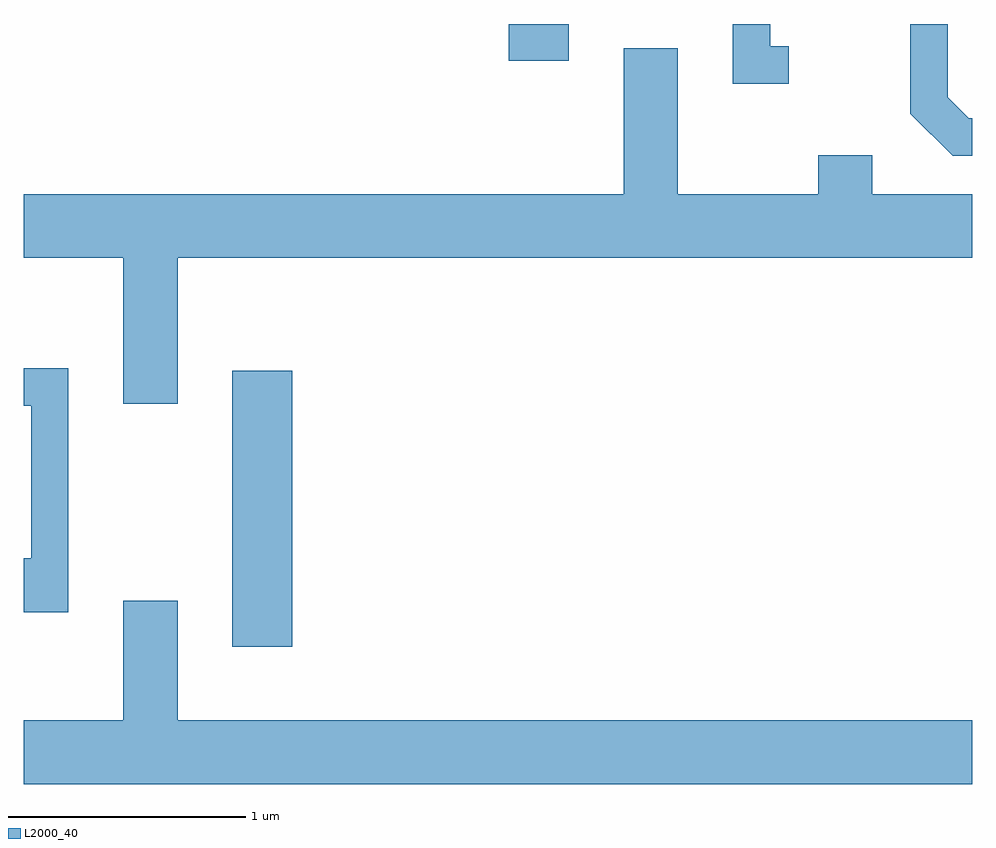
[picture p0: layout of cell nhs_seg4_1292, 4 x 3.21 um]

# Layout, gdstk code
import gdstk
lib = gdstk.Library(unit=1e-6, precision=1e-09)
def R(c, l, rs):  # rectangles x0, y0, x1, y1
    for r in rs: c.add(gdstk.rectangle(r[:2], r[2:], *l))
def P(c, l, *ps):  # polygons
    for p in ps: c.add(gdstk.Polygon(p, *l))
L2000_40 = (2000, 40)

nhs_seg4_1292 = lib.new_cell('nhs_seg4_1292')
R(nhs_seg4_1292, L2000_40, [(224.491,1255.356,224.744,1256.519), (225.656,1257.826,225.909,1257.982)])
P(nhs_seg4_1292, L2000_40, [(226.838,1257.889),(226.759,1257.889),(226.759,1257.982),(226.601,1257.982),(226.601,1257.731),(226.838,1257.731)],
  [(227.611,1257.584),(227.597,1257.584),(227.509,1257.672),(227.509,1257.982),(227.351,1257.982),(227.351,1257.604),(227.529,1257.426),(227.611,1257.426)],
  [(224.259,1256.996),(227.611,1256.996),(227.611,1257.264),(227.189,1257.264),(227.189,1257.429),(226.961,1257.429),(226.961,1257.264),(226.369,1257.264),(226.369,1257.879),(226.141,1257.879),(226.141,1257.264),(223.611,1257.264),(223.611,1256.996),(224.031,1256.996),(224.031,1256.381),(224.259,1256.381)],
  [(223.799,1256.529),(223.611,1256.529),(223.611,1256.371),(223.641,1256.371),(223.641,1255.729),(223.611,1255.729),(223.611,1255.501),(223.799,1255.501)],
  [(227.611,1255.044),(224.259,1255.044),(224.259,1255.549),(224.031,1255.549),(224.031,1255.044),(223.611,1255.044),(223.611,1254.776),(227.611,1254.776)])

lib.write_gds('nhs_seg4_1292.gds')
